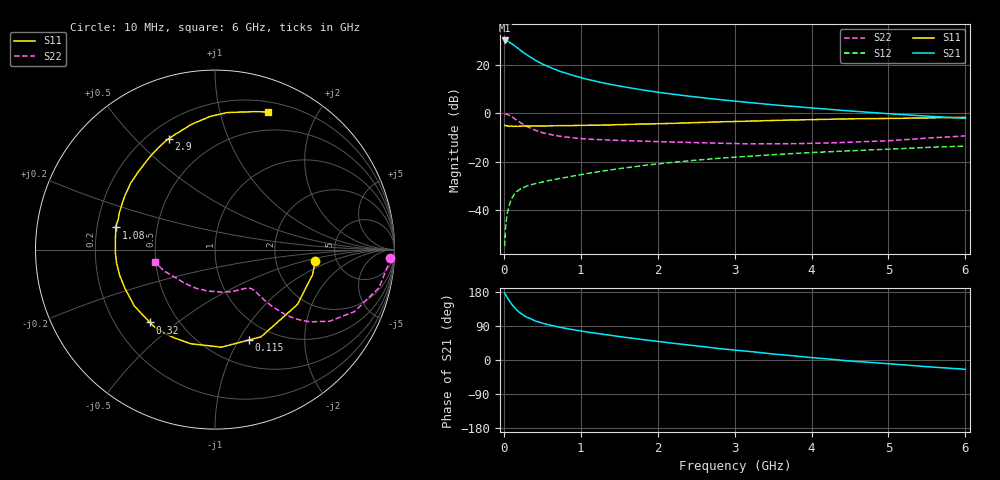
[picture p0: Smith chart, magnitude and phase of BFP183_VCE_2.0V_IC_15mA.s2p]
! Infineon Technologies  Discrete & RF Semiconductors
! BFP183
! VCE = 2.0 V,  IC =  15 mA
! Common Emitter S-Parameters:  Jan 2016
# GHz  S  MA  R  50
!  f  S11  S21  S12  S22
! GHz  MAG  ANG  MAG  ANG  MAG  ANG  MAG  ANG
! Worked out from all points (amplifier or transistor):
!   210 points, 10 MHz to 6 GHz, reference 50 ohm
!   highest |S21| = 30.1 dB at 10 MHz (marker M1)
!   |S21| within 3 dB of that: start of sweep to 174.1 MHz
!   unconditionally stable (mu >= 1): 902.4 MHz to 5.623 GHz
!   at 185 MHz: K = 0.34, MSG = 29.4 dB, |S12| = -31.9 dB
!   at 1.52 GHz: K = 1.15, MAG = 14.6 dB, |S12| = -22.8 dB
!   at 6 GHz: K = 0.95, MSG = 5.7 dB, |S12| = -13.5 dB
!   S11 on the Smith chart (normalised r, x): 10 MHz: 3.43, -0.66; 115 MHz: 0.78, -1.11; 320 MHz: 0.35, -0.40; 1.08 GHz: 0.28, +0.10; 2.9 GHz: 0.28, +0.63; 6 GHz: 0.30, +1.42
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0.01  0.5619 -6.7  31.82 176.5  0.0018 83.6  0.9746 -2.6
0.02  0.5616 -14.4  31.81 173.2  0.0039 84.3  0.9679 -5.2
0.05  0.5517 -33.7  30.93 162.5  0.0095 79.8  0.9388 -13.0
0.1  0.5495 -62.2  27.57 147.5  0.0173 64.2  0.8502 -24.0
0.115  0.538 -69.3  26.42 144.2  0.0189 62.0  0.8199 -26.2
0.15  0.5449 -86.3  24.13 135.2  0.0227 58.1  0.7544 -31.9
0.2  0.5415 -104.5  20.96 125.7  0.0265 52.9  0.6646 -37.3
0.26  0.5436 -119.7  17.67 117.5  0.0294 48.8  0.5795 -41.1
0.32  0.544 -131.8  15.28 111.4  0.0323 47.1  0.5161 -43.1
0.4  0.5486 -144.9  12.66 103.6  0.035 46.2  0.4503 -44.8
0.5  0.5462 -156.7  10.37 97.1  0.038 45.0  0.3979 -45.6
0.6  0.5504 -165.1  8.854 91.9  0.0412 46.1  0.3637 -45.8
0.8  0.5555 -178.2  6.75 83.3  0.0472 47.6  0.324 -46.1
1.02  0.5618 170.2  5.326 75.8  0.0543 49.2  0.2982 -47.1
1.08  0.5656 167.4  5.047 73.9  0.0568 49.4  0.2936 -47.5
1.5  0.5807 151.7  3.646 61.8  0.0718 49.6  0.2743 -52.1
2.02  0.6083 135.0  2.689 48.6  0.0903 47.5  0.2593 -61.1
2.9  0.6692 112.6  1.845 28.2  0.1208 41.4  0.2385 -82.5
3.1  0.6809 108.3  1.717 24.3  0.127 39.8  0.2348 -88.2
4.1  0.747 90.4  1.249 4.7  0.157 31.5  0.241 -119.4
5.1  0.7844 77.8  0.954 -11.3  0.184 24.3  0.2768 -147.7
6  0.8223 68.8  0.784 -24.6  0.2103 16.0  0.3409 -167.9
